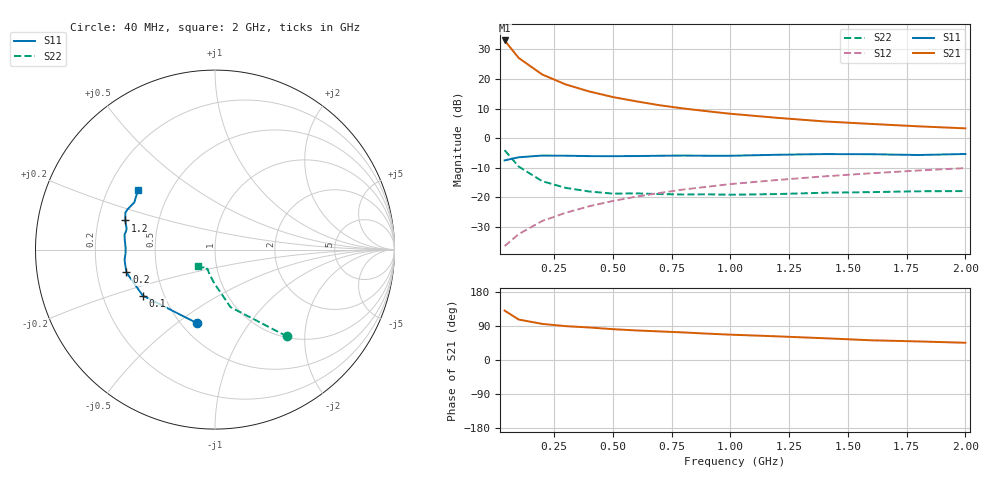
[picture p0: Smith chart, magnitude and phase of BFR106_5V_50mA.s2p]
! Filename:  BFR106C.S2P  Version:  2.0
! Philips part #: BFR106  Date: Jun 1990
! Bias condition: Vce=5V, Ic=50mA
#  MHz  S  MA  R  50
! Freq  S11  S21  S12  S22  !GUM [dB]
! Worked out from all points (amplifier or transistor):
!   16 points, 40 MHz to 2 GHz, reference 50 ohm
!   highest |S21| = 33.1 dB at 40 MHz (marker M1)
!   |S21| within 3 dB of that: start of sweep to 70.41 MHz
!   unconditionally stable (mu >= 1): 275 MHz to 1.999 GHz
!   at 200 MHz: K = 0.94, MSG = 24.8 dB, |S12| = -28.0 dB
!   at 800 MHz: K = 1.06, MAG = 12.2 dB, |S12| = -17.3 dB
!   at 2 GHz: K = 1.00, MSG = 6.7 dB, |S12| = -10.1 dB
!   S11 on the Smith chart (normalised r, x): 40 MHz: 0.60, -0.60; 100 MHz: 0.38, -0.25; 200 MHz: 0.33, -0.11; 1.2 GHz: 0.32, +0.14; 2 GHz: 0.33, +0.31
40  0.422 -103.7  44.96 130.4  0.015 61.2  0.629 -50.3
100  0.477 -147.4  22.74 106.7  0.024 60.8  0.332 -74.9
200  0.51 -165.6  11.96 95.3  0.04 69.2  0.188 -91.2
300  0.507 -173.6  8.115 89.3  0.055 70.5  0.145 -101.2
400  0.499 -177.5  6.179 85.8  0.071 72.5  0.126 -107.2
500  0.498 179.4  4.974 81.4  0.087 73.3  0.116 -111.2
600  0.5 177.1  4.207 78.0  0.103 73.2  0.117 -113.6
700  0.506 173.7  3.609 75.4  0.119 72.8  0.114 -114.3
800  0.511 170.6  3.188 72.8  0.136 72.3  0.112 -115.5
900  0.506 168.2  2.868 69.6  0.151 72.0  0.113 -114.6
1000  0.506 166.7  2.594 66.9  0.168 71.0  0.111 -116.5
1200  0.526 162.0  2.213 62.4  0.197 69.5  0.114 -120.9
1400  0.54 157.6  1.925 57.4  0.227 67.7  0.12 -124.1
1600  0.537 155.5  1.745 52.0  0.256 66.5  0.123 -126.7
1800  0.521 149.6  1.59 49.0  0.285 64.6  0.127 -129.8
2000  0.542 142.4  1.47 45.5  0.313 63.1  0.128 -136.2
